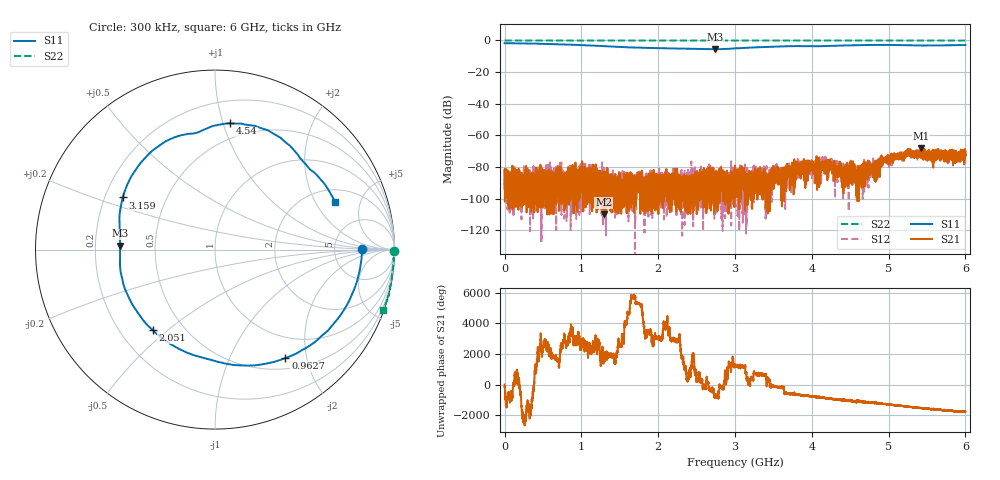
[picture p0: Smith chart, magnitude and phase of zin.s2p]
!  8/10/2020  01:54:49
! Ref Plane: 0.000 mm
# MHZ S MA R  50
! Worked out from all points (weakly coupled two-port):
!   10001 points, 300 kHz to 6 GHz, reference 50 ohm
!   highest |S21| = -68.03 dB at 5.423 GHz (marker M1); lowest = -109.9 dB at 1.292 GHz (marker M2)
!   lowest |S11| = -5.5 dB at 2.745 GHz (marker M3), VSWR 3.25, Z = 15.4 + j0.936 ohm
!   |S11| at or under -10 dB: nowhere
!   |S22| runs from -0.1 to 0.0 dB; largest |S21 - S12| = 0.00021
!   S11 on the Smith chart (normalised r, x): 300 kHz: 10, +0; 962.7 MHz: 0.66, -1.65; 2.051 GHz: 0.34, -0.44; 3.159 GHz: 0.27, +0.24; 4.54 GHz: 0.37, +1.06; 6 GHz: 2.67, +2.94
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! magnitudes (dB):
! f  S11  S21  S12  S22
! 300 kHz  -1.7  -93.8  -81.2  0.0
! 962.7 MHz  -2.9  -81.6  -86.2  0.0
! 1 GHz  -2.9  -80.0  -91.0  0.0
! 1.292 GHz  -3.6  -109.9  -91.1  0.0
! 2.001 GHz  -4.9  -85.2  -98.8  0.0
! 2.051 GHz  -4.9  -91.1  -89.4  0.0
! 2.745 GHz  -5.5  -86.6  -89.3  0.0
! 3 GHz  -5.0  -88.0  -85.6  0.0
! 3.159 GHz  -4.6  -86.5  -85.1  0.0
! 4 GHz  -3.6  -79.1  -77.3  0.0
! 4.087 GHz  -3.6  -79.7  -81.5  0.0
! 4.151 GHz  -3.6  -79.7  -76.7  0.0
! 4.54 GHz  -3.0  -79.8  -83.0  0.0
! 4.79 GHz  -2.8  -82.7  -80.3  0.0
! 5 GHz  -2.8  -74.5  -76.0  0.0
! 5.252 GHz  -3.0  -71.4  -71.2  0.0
! 5.423 GHz  -3.2  -68.0  -73.9  0.0
! 5.57 GHz  -3.2  -71.8  -75.8  0.0
! 5.629 GHz  -3.2  -69.7  -70.9  0.0
! 5.825 GHz  -3.0  -75.7  -71.3  -0.1
! 5.896 GHz  -2.9  -75.4  -74.5  0.0
! 6 GHz  -2.9  -72.3  -69.3  0.0
